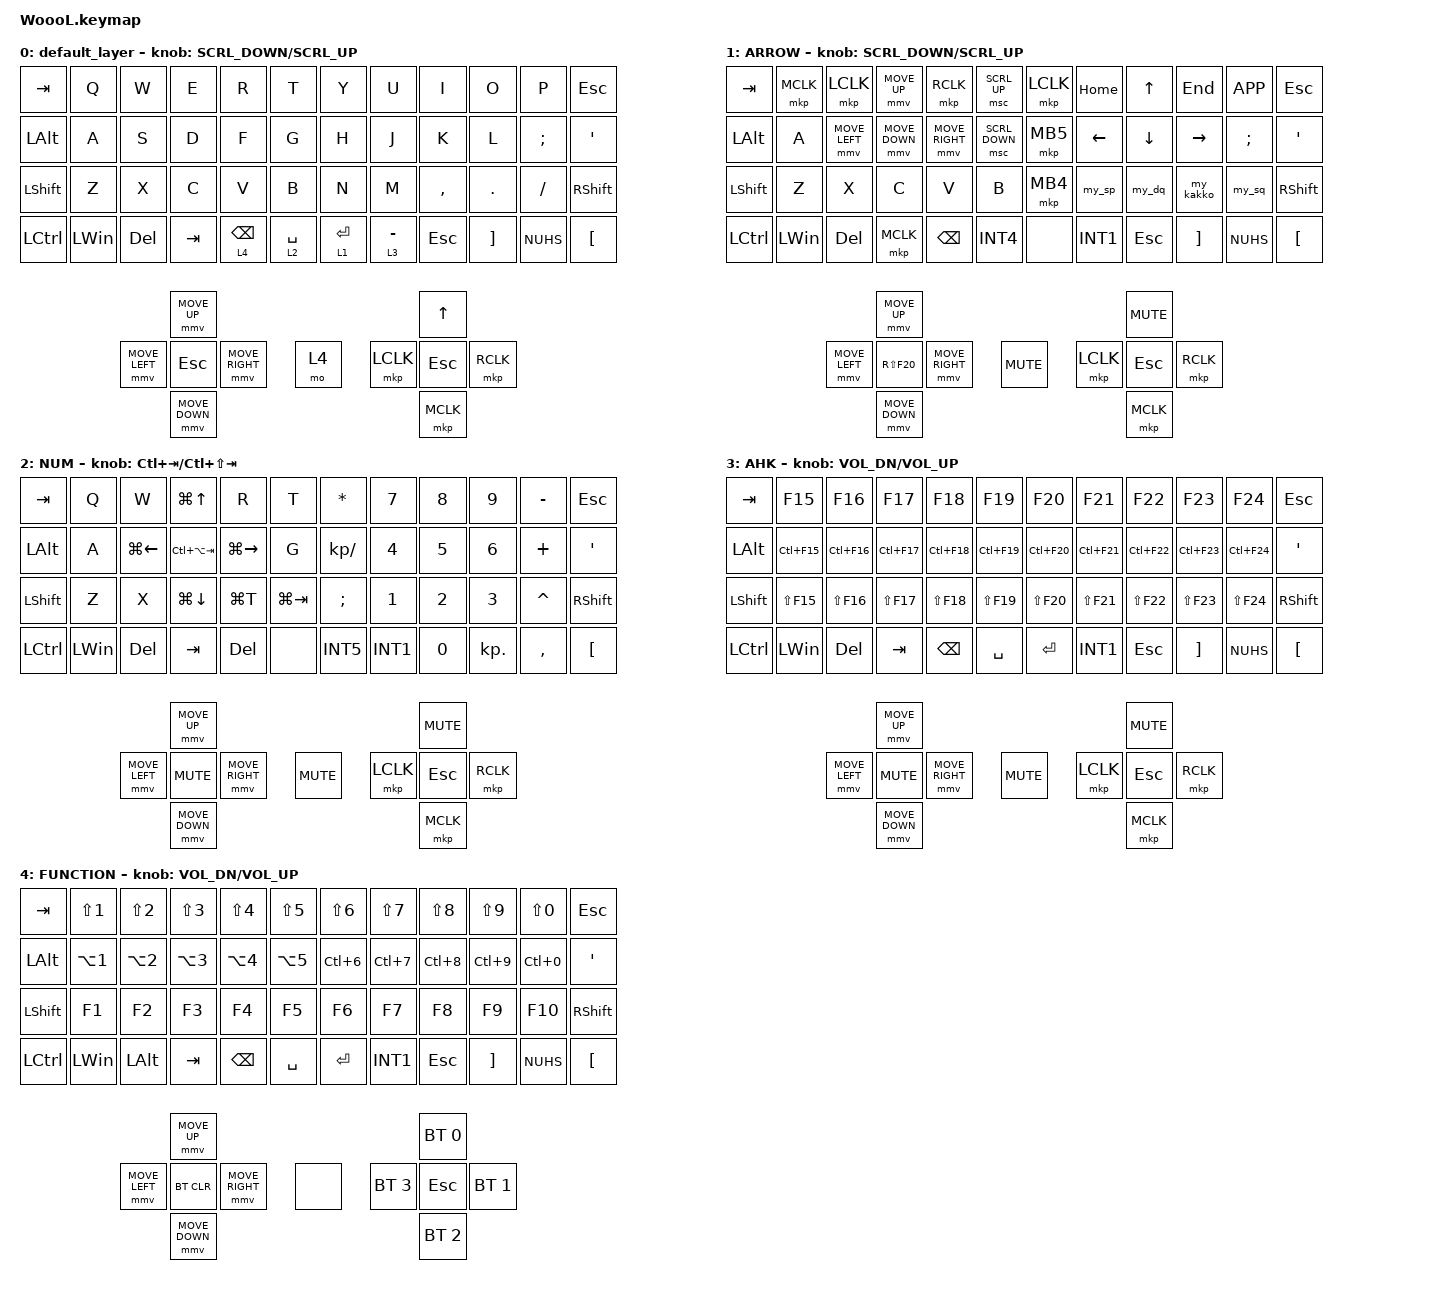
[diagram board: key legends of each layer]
#include <behaviors.dtsi>
#include <dt-bindings/zmk/bt.h>
#include <dt-bindings/zmk/keys.h>
#include <dt-bindings/zmk/mouse.h>
#include <dt-bindings/zmk/pointing.h>
#include <behaviors/rgbled_widget.dtsi>

#define ZMK_POINTING_DEFAULT_MOVE_VAL 1200
#define ZMK_POINTING_DEFAULT_SCRL_VAL 100

// Leyer
#define ARROW 1
#define NUM 2
#define AHK 3
#define FUNCTION 4
// #define SCROLL 5
// #define layer_6 6

// Japanese
#define JP_MINUS MINUS        // -
#define JP_CARET EQUAL        // ^
#define JP_YEN   INT3         // ¥
#define JP_AT    LBKT         // @
#define JP_LBKT  RBKT         // [
#define JP_EISU  CAPS         // Eisu (英数)
#define JP_SEMI  SEMI         // ;
#define JP_COLON SQT          // :
#define JP_RBKT  NUHS         // ]
#define JP_COMMA COMMA        // ,
#define JP_DOT   DOT          // .
#define JP_SLASH SLASH        // /
#define JP_BSLH  INT1         // (backslash)
#define JP_MHEN  INT5         // Muhenkan (無変換)
#define JP_HENK  INT4         // Henkan (変換)
#define JP_EXCL  LS(N1)       // !
#define JP_DQT   LS(N2)       // "
#define JP_HASH  LS(N3)       // #
#define JP_DLLR  LS(N4)       // $
#define JP_PRCNT LS(N5)       // %
#define JP_AMPS  LS(N6)       // &
#define JP_SQT   LS(N7)       // '
#define JP_LPAR  LS(N8)       // (
#define JP_RPAR  LS(N9)       // )
#define JP_EQUAL LS(JP_MINUS) // =
#define JP_TILDE LS(JP_CARET) // ~
#define JP_PIPE  LS(JP_YEN)   // |
#define JP_GRAVE LS(JP_AT)    // `
#define JP_LBRC  LS(JP_LBKT)  // {
#define JP_CAPS  LS(JP_EISU)  // Caps Lock
#define JP_PLUS  LS(JP_SEMI)  // +
#define JP_ASTRK LS(JP_COLON) // *
#define JP_RBRC  LS(JP_RBKT)  // }
#define JP_LT    LS(JP_COMMA) // <
#define JP_RT    LS(JP_DOT)   // >
#define JP_QMARK LS(JP_SLASH) // ?
#define JP_UNDER LS(JP_BSLH)  // _

/ {
    macros {
        to_layer_0: to_layer_0 {
            compatible = "zmk,behavior-macro-one-param";
            #binding-cells = <1>;
            bindings = <&to 0 &macro_param_1to1 &kp MACRO_PLACEHOLDER>;
            label = "TO_LAYER_0";
        };
        my_sp: my_sp {
            compatible = "zmk,behavior-macro";
            #binding-cells = <0>;
            bindings = <&macro_tap &kp JP_MHEN>
                , <&macro_tap &kp LS(N3)>
                ;
        };
        my_dq: my_dq {
            #binding-cells = <0>;
            compatible = "zmk,behavior-macro";
            bindings = <&macro_tap &kp JP_MHEN>
                , <&macro_tap &kp LS(N2)>
                , <&macro_tap &kp LS(N2)>
                ;
        };
        my_sq: my_sq {
            #binding-cells = <0>;
            compatible = "zmk,behavior-macro";
            bindings = <&macro_tap &kp JP_MHEN>
                , <&macro_tap &kp LS(N7)>
                , <&macro_tap &kp LS(N7)>
                ;
        };
        my_kakko: my_kakko {
            compatible = "zmk,behavior-macro";
            #binding-cells = <0>;
            bindings = <&macro_tap &kp JP_MHEN>
                , <&macro_tap &kp LS(N8)>
                , <&macro_tap &kp LS(N9)>
                ;
        };
        my_br: my_br {
            compatible = "zmk,behavior-macro";
            #binding-cells = <0>;
            bindings = <&macro_tap &kp JP_MHEN>
                , <&macro_tap &kp JP_LT>
                , <&macro_tap &kp B>
                , <&macro_tap &kp R>
                , <&macro_tap &kp JP_RT>
                ;
        };
    };

    behaviors {
        lt_to_layer_0: lt_to_layer_0 {
            compatible = "zmk,behavior-hold-tap";
            label = "LAYER_TAP_TO_0";
            bindings = <&mo>, <&to_layer_0>;
            #binding-cells = <2>;
            tapping-term-ms = <200>;
        };
        td0: tap_dance_0 {
            compatible = "zmk,behavior-tap-dance";
            #binding-cells = <0>;
            tapping-term-ms = <200>;
            bindings = <&kp JP_HENK>, <&kp JP_MHEN>;
        };
        rot_kp: sensor_rotate_kp {
            compatible = "zmk,behavior-sensor-rotate-var";
            #sensor-binding-cells = <2>;
            bindings = <&kp>, <&kp>;
        };
        rot_mkp: sensor_rotate_mkp {
            compatible = "zmk,behavior-sensor-rotate-var";
            #sensor-binding-cells = <2>;
            bindings = <&mkp>, <&mkp>;
        };
        mouse_scroll: mouse_wheel_scrl{
            compatible = "zmk,behavior-sensor-rotate-var";
            #sensor-binding-cells = <2>;
            bindings = <&msc>, <&msc>;
            tap-ms = <20>;
        };
    };

    keymap {
        compatible = "zmk,keymap";
        default_layer {
            bindings = <
                &kp TAB    &kp Q    &kp W    &kp E   &kp R    &kp T     &kp Y     &kp U     &kp I        &kp O       &kp P         &kp ESC
                &kp LALT   &kp A    &kp S    &kp D   &kp F    &kp G     &kp H     &kp J     &kp K        &kp L       &kp JP_SEMI   &kp JP_COLON
                &kp LSHIFT &kp Z    &kp X    &kp C   &kp V    &kp B     &kp N     &kp M     &kp JP_COMMA &kp JP_DOT  &kp JP_SLASH  &kp RSHIFT
                &kp LCTRL  &kp LWIN &kp DEL  &kp TAB &lt_to_layer_0 4 BSPC &lt_to_layer_0 2 SPACE &lt_to_layer_0 1 ENTER &lt_to_layer_0 3 MINUS &kp ESC &kp JP_LBKT &kp JP_RBKT &kp JP_AT
                                         &mmv MOVE_UP                                      &kp UP
                        &mmv MOVE_LEFT   &kp ESC  &mmv MOVE_RIGHT    &mo 4       &mkp LCLK &kp ESC   &mkp RCLK
                                         &mmv MOVE_DOWN                                    &mkp MCLK
            >;
            sensor-bindings = <&mouse_scroll SCRL_DOWN SCRL_UP>;
        };
        ARROW {
            bindings = <
                &kp TAB    &mkp MCLK &mkp LCLK      &mmv MOVE_UP   &mkp RCLK       &msc SCRL_UP       &mkp LCLK    &kp HOME     &kp UP    &kp END     &kp K_APP     &kp ESC
                &kp LALT   &kp A     &mmv MOVE_LEFT &mmv MOVE_DOWN &mmv MOVE_RIGHT &msc SCRL_DOWN     &mkp MB5     &kp LEFT     &kp DOWN  &kp RIGHT   &kp JP_SEMI   &kp JP_COLON
                &kp LSHIFT &kp Z     &kp X          &kp C          &kp V           &kp B              &mkp MB4     &my_sp       &my_dq    &my_kakko   &my_sq        &kp RSHIFT
                &kp LCTRL  &kp LWIN  &kp DEL        &mkp MCLK      &kp BSPC        &kp JP_HENK        &none        &kp JP_BSLH  &kp ESC   &kp JP_LBKT &kp JP_RBKT   &kp JP_AT
                                         &mmv MOVE_UP                                            &kp C_MUTE
                        &mmv MOVE_LEFT   &kp RS(F20)  &mmv MOVE_RIGHT    &kp C_MUTE        &mkp LCLK &kp ESC   &mkp RCLK
                                         &mmv MOVE_DOWN                                          &mkp MCLK
            >;
            sensor-bindings = <&mouse_scroll SCRL_DOWN SCRL_UP>;
        };
        NUM {
            bindings = <
                &kp TAB    &kp Q    &kp W        &kp LG(UP)      &kp R         &kp T                      &kp ASTRK     &kp N7      &kp N8   &kp N9       &kp MINUS   &kp ESC
                &kp LALT   &kp A    &kp LG(LEFT) &kp LC(LA(TAB)) &kp LG(RIGHT) &kp G                      &kp KP_SLASH  &kp N4      &kp N5   &kp N6       &kp PLUS    &kp JP_COLON
                &kp LSHIFT &kp Z    &kp X        &kp LG(DOWN)    &kp LG(T)     &kp LG(TAB)                &kp SEMI      &kp N1      &kp N2   &kp N3       &kp CARET   &kp RSHIFT
                &kp LCTRL  &kp LWIN &kp DEL      &kp TAB         &kp DEL       &none                      &kp JP_MHEN   &kp JP_BSLH &kp N0   &kp KP_DOT   &kp COMMA   &kp JP_AT
                                         &mmv MOVE_UP                                            &kp C_MUTE
                        &mmv MOVE_LEFT   &kp C_MUTE  &mmv MOVE_RIGHT    &kp C_MUTE        &mkp LCLK &kp ESC    &mkp RCLK
                                         &mmv MOVE_DOWN                                          &mkp MCLK
            >;
            sensor-bindings = <&inc_dec_kp LC(TAB) LC(LS(TAB))>;
        };
        AHK {
            bindings = <
                &kp TAB    &kp F15      &kp F16      &kp F17      &kp F18       &kp F19       &kp F20     &kp F21        &kp F22        &kp F23      &kp F24       &kp ESC
                &kp LALT   &kp LC(F15)  &kp LC(F16)  &kp LC(F17)  &kp LC(F18)   &kp LC(F19)   &kp LC(F20) &kp LC(F21)    &kp LC(F22)    &kp LC(F23)  &kp LC(F24)   &kp JP_COLON
                &kp LSHIFT &kp LS(F15)  &kp LS(F16)  &kp LS(F17)  &kp LS(F18)   &kp LS(F19)   &kp LS(F20) &kp LS(F21)    &kp LS(F22)    &kp LS(F23)  &kp LS(F24)   &kp RSHIFT
                &kp LCTRL  &kp LWIN     &kp DEL      &kp TAB      &kp BSPC      &kp SPACE     &kp ENTER   &kp JP_BSLH    &kp ESC        &kp JP_LBKT  &kp JP_RBKT   &kp JP_AT
                                         &mmv MOVE_UP                                            &kp C_MUTE
                        &mmv MOVE_LEFT   &kp C_MUTE  &mmv MOVE_RIGHT    &kp C_MUTE        &mkp LCLK &kp ESC   &mkp RCLK
                                         &mmv MOVE_DOWN                                          &mkp MCLK
            >;
            sensor-bindings = <&inc_dec_kp C_VOL_DN C_VOL_UP>;
        };
        FUNCTION {
            bindings = <
                &kp TAB    &kp LS(N1)   &kp LS(N2)  &kp LS(N3)  &kp LS(N4)  &kp LS(N5)  &kp LS(N6)  &kp LS(N7)  &kp LS(N8)  &kp LS(N9)  &kp LS(N0)  &kp ESC
                &kp LALT   &kp LA(N1)   &kp LA(N2)  &kp LA(N3)  &kp LA(N4)  &kp LA(N5)  &kp LC(N6)  &kp LC(N7)  &kp LC(N8)  &kp LC(N9)  &kp LC(N0)  &kp JP_COLON
                &kp LSHIFT &kp F1       &kp F2      &kp F3      &kp F4      &kp F5      &kp F6      &kp F7      &kp F8      &kp F9      &kp F10     &kp RSHIFT
                &kp LCTRL  &kp LWIN     &kp LALT    &kp TAB     &kp BSPC    &kp SPACE   &kp ENTER   &kp JP_BSLH &kp ESC     &kp JP_LBKT &kp JP_RBKT &kp JP_AT
                                         &mmv MOVE_UP                                               &bt BT_SEL 0
                         &mmv MOVE_LEFT  &bt BT_CLR  &mmv MOVE_RIGHT  &none          &bt BT_SEL 3   &kp ESC   &bt BT_SEL 1
                                         &mmv MOVE_DOWN                                             &bt BT_SEL 2
            >;
            sensor-bindings = <&inc_dec_kp C_VOL_DN C_VOL_UP>;
        };
    };
};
